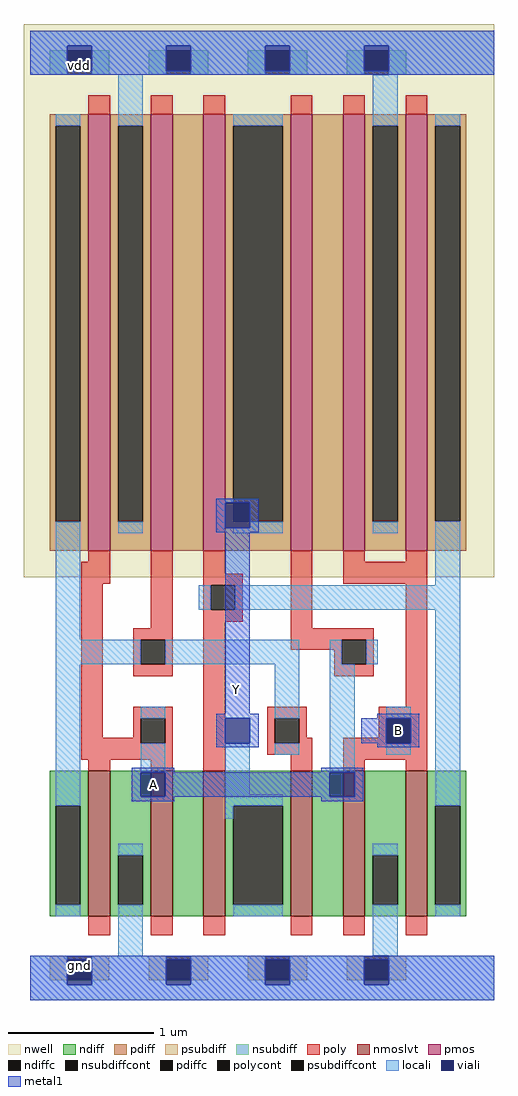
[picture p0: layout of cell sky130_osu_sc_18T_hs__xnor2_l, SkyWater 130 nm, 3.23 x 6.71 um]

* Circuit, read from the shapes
.subckt sky130_osu_sc_18T_hs__xnor2_l A B Y
XM1 gnd A n1 gnd sky130_fd_pr__nfet_01v8_lvt w=1 l=0.15
XM2 n2 A gnd gnd sky130_fd_pr__nfet_01v8_lvt w=1 l=0.15
XM3 Y n3 n2 gnd sky130_fd_pr__nfet_01v8_lvt w=1 l=0.15
XM4 n4 n1 Y gnd sky130_fd_pr__nfet_01v8_lvt w=1 l=0.15
XM5 gnd B n4 gnd sky130_fd_pr__nfet_01v8_lvt w=1 l=0.15
XM6 n3 B gnd gnd sky130_fd_pr__nfet_01v8_lvt w=1 l=0.15
XM7 vdd A n1 vdd sky130_fd_pr__pfet_01v8 w=3 l=0.15
XM8 n5 n1 vdd vdd sky130_fd_pr__pfet_01v8 w=3 l=0.15
XM9 Y n3 n5 vdd sky130_fd_pr__pfet_01v8 w=3 l=0.15
XM10 n6 A Y vdd sky130_fd_pr__pfet_01v8 w=3 l=0.15
XM11 vdd B n6 vdd sky130_fd_pr__pfet_01v8 w=3 l=0.15
XM12 n3 B vdd vdd sky130_fd_pr__pfet_01v8 w=3 l=0.15
.ends

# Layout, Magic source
magic
tech sky130A
magscale 1 2
<< nwell >>
rect -9 581 638 1341
<< pmos >>
rect 80 617 110 1217
rect 166 617 196 1217
rect 238 617 268 1217
rect 358 617 388 1217
rect 430 617 460 1217
rect 516 617 546 1217
<< nmoslvt >>
rect 80 115 110 315
rect 166 115 196 315
rect 238 115 268 315
rect 358 115 388 315
rect 430 115 460 315
rect 516 115 546 315
<< ndiff >>
rect 27 267 80 315
rect 27 131 35 267
rect 69 131 80 267
rect 27 115 80 131
rect 110 199 166 315
rect 110 131 121 199
rect 155 131 166 199
rect 110 115 166 131
rect 196 115 238 315
rect 268 267 358 315
rect 268 131 279 267
rect 347 131 358 267
rect 268 115 358 131
rect 388 115 430 315
rect 460 199 516 315
rect 460 131 471 199
rect 505 131 516 199
rect 460 115 516 131
rect 546 267 599 315
rect 546 131 557 267
rect 591 131 599 267
rect 546 115 599 131
<< pdiff >>
rect 27 1201 80 1217
rect 27 657 35 1201
rect 69 657 80 1201
rect 27 617 80 657
rect 110 1201 166 1217
rect 110 657 121 1201
rect 155 657 166 1201
rect 110 617 166 657
rect 196 617 238 1217
rect 268 1201 358 1217
rect 268 657 279 1201
rect 347 657 358 1201
rect 268 617 358 657
rect 388 617 430 1217
rect 460 1201 516 1217
rect 460 657 471 1201
rect 505 657 516 1201
rect 460 617 516 657
rect 546 1201 599 1217
rect 546 658 557 1201
rect 591 658 599 1201
rect 546 617 599 658
<< ndiffc >>
rect 35 131 69 267
rect 121 131 155 199
rect 279 131 347 267
rect 471 131 505 199
rect 557 131 591 267
<< pdiffc >>
rect 35 657 69 1201
rect 121 657 155 1201
rect 279 657 347 1201
rect 471 657 505 1201
rect 557 658 591 1201
<< psubdiff >>
rect 27 27 51 61
rect 85 27 109 61
rect 163 27 187 61
rect 221 27 245 61
rect 299 27 323 61
rect 357 27 381 61
rect 435 27 459 61
rect 493 27 517 61
<< nsubdiff >>
rect 27 1271 51 1305
rect 85 1271 109 1305
rect 163 1271 187 1305
rect 221 1271 245 1305
rect 299 1271 323 1305
rect 357 1271 381 1305
rect 435 1271 459 1305
rect 493 1271 517 1305
<< psubdiffcont >>
rect 51 27 85 61
rect 187 27 221 61
rect 323 27 357 61
rect 459 27 493 61
<< nsubdiffcont >>
rect 51 1271 85 1305
rect 187 1271 221 1305
rect 323 1271 357 1305
rect 459 1271 493 1305
<< poly >>
rect 80 1217 110 1243
rect 166 1217 196 1243
rect 238 1217 268 1243
rect 358 1217 388 1243
rect 430 1217 460 1243
rect 516 1217 546 1243
rect 80 602 110 617
rect 70 572 110 602
rect 70 360 100 572
rect 166 511 196 617
rect 142 495 196 511
rect 142 461 152 495
rect 186 461 196 495
rect 142 445 196 461
rect 238 586 268 617
rect 238 570 292 586
rect 238 536 248 570
rect 282 536 292 570
rect 238 520 292 536
rect 142 387 196 403
rect 142 360 152 387
rect 70 353 152 360
rect 186 353 196 387
rect 70 330 196 353
rect 80 315 110 330
rect 166 315 196 330
rect 238 315 268 520
rect 358 511 388 617
rect 430 602 460 617
rect 516 602 546 617
rect 430 572 546 602
rect 358 495 472 511
rect 358 481 428 495
rect 418 461 428 481
rect 462 461 472 495
rect 418 445 472 461
rect 516 403 546 572
rect 326 387 380 403
rect 326 353 336 387
rect 370 360 380 387
rect 479 387 546 403
rect 479 360 489 387
rect 370 353 388 360
rect 326 337 388 353
rect 358 315 388 337
rect 430 353 489 360
rect 523 353 546 387
rect 430 330 546 353
rect 430 315 460 330
rect 516 315 546 330
rect 80 89 110 115
rect 166 89 196 115
rect 238 89 268 115
rect 358 89 388 115
rect 430 89 460 115
rect 516 89 546 115
<< polycont >>
rect 152 461 186 495
rect 248 536 282 570
rect 152 353 186 387
rect 428 461 462 495
rect 336 353 370 387
rect 489 353 523 387
<< locali >>
rect 0 1311 638 1332
rect 0 1271 51 1311
rect 85 1271 187 1311
rect 221 1271 323 1311
rect 357 1271 459 1311
rect 493 1271 638 1311
rect 35 1201 69 1217
rect 35 495 69 657
rect 121 1201 155 1271
rect 279 1201 347 1217
rect 121 641 155 657
rect 268 683 279 689
rect 302 649 347 657
rect 279 641 347 649
rect 471 1201 505 1271
rect 471 641 505 657
rect 557 1201 591 1217
rect 557 570 591 658
rect 232 536 248 570
rect 282 536 591 570
rect 35 461 152 495
rect 186 461 370 495
rect 35 267 69 461
rect 152 387 186 403
rect 336 387 370 461
rect 152 313 186 353
rect 268 283 302 353
rect 336 337 370 353
rect 412 461 428 495
rect 462 461 478 495
rect 412 313 446 461
rect 489 387 523 403
rect 489 337 523 353
rect 268 267 347 283
rect 268 249 279 267
rect 35 115 69 131
rect 121 199 155 215
rect 121 61 155 131
rect 557 267 591 536
rect 279 115 347 131
rect 471 199 505 215
rect 471 61 505 131
rect 557 115 591 131
rect 0 21 51 61
rect 85 21 187 61
rect 221 21 323 61
rect 357 21 459 61
rect 493 21 638 61
rect 0 0 638 21
<< viali >>
rect 51 1305 85 1311
rect 51 1277 85 1305
rect 187 1305 221 1311
rect 187 1277 221 1305
rect 323 1305 357 1311
rect 323 1277 357 1305
rect 459 1305 493 1311
rect 459 1277 493 1305
rect 268 657 279 683
rect 279 657 302 683
rect 268 649 302 657
rect 152 279 186 313
rect 268 353 302 387
rect 489 353 523 387
rect 412 279 446 313
rect 51 27 85 55
rect 51 21 85 27
rect 187 27 221 55
rect 187 21 221 27
rect 323 27 357 55
rect 323 21 357 27
rect 459 27 493 55
rect 459 21 493 27
<< metal1 >>
rect 0 1311 638 1332
rect 0 1277 51 1311
rect 85 1277 187 1311
rect 221 1277 323 1311
rect 357 1277 459 1311
rect 493 1277 638 1311
rect 0 1271 638 1277
rect 256 683 314 689
rect 256 649 268 683
rect 302 649 314 683
rect 256 643 314 649
rect 268 393 302 643
rect 256 387 314 393
rect 477 387 535 393
rect 256 353 268 387
rect 302 353 314 387
rect 455 353 489 387
rect 523 353 535 387
rect 256 347 314 353
rect 477 347 535 353
rect 140 313 198 319
rect 400 313 458 319
rect 140 279 152 313
rect 186 279 412 313
rect 446 279 458 313
rect 140 273 198 279
rect 400 273 458 279
rect 0 55 638 61
rect 0 21 51 55
rect 85 21 187 55
rect 221 21 323 55
rect 357 21 459 55
rect 493 21 638 55
rect 0 0 638 21
<< labels >>
rlabel metal1 170 296 170 296 1 A
port 1 n
rlabel metal1 506 370 506 370 1 B
port 2 n
rlabel metal1 284 427 284 427 1 Y
port 3 n
rlabel viali 68 48 68 48 1 gnd
rlabel viali 68 1284 68 1284 1 vdd
<< end >>
